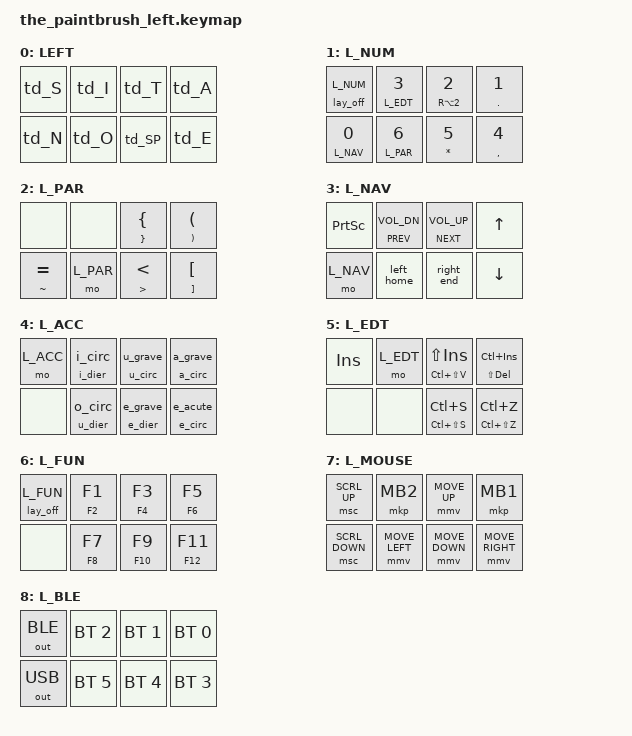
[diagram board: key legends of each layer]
/*
 * Copyright (c) 2021 Mike "KemoNine" Crosson
 * 2024 modified by Petko Yotov pmwiki.org/petko
 *
 * SPDX-License-Identifier: MIT
 */

#define ZMK_POINTING_DEFAULT_MOVE_VAL 600  // default: 600
#define ZMK_POINTING_DEFAULT_SCRL_VAL 6    // default: 10 (currently unused)


#include <behaviors.dtsi>
#include <dt-bindings/zmk/keys.h>
#include <dt-bindings/zmk/outputs.h>
#include <dt-bindings/zmk/bt.h>
#include <dt-bindings/zmk/pointing.h>

// HOST_OS: Linux=1, MacOS=2
#define HOST_OS 1
#include "zmk-helpers/helper.h"

#include "keyabbrev.dtsi"


// International characters and dead accents from the XKB layout
// "English (US, intl., with AltGr dead keys)":
#define SUP2 RA(N2)
// dead grave
#define D_GRV RA(GRAVE)
// dead acute
#define D_ACU RA(SQT)
// dead diaeresis
#define D_DRS RA(DQT)
// dead circumflex
#define D_CRC RA(N6)
// dead tilde
#define D_TLD RA(TILDE)

#define NTILDE RA(N)
#define DEGREE RA(COLON)
#define C_CDL  RA(COMMA)
#define S_SRP  RA(S)
#define OELIG  RA(X)
#define AELIG  RA(Z)
#define EURO   RA(N5)
#define GBP    RA(DOLLAR)
#define YEN    RA(MINUS)

// edit shortcuts
// C_AC_UNDO/K_UNDO and K_REDO work in LibreOffice 
// but not in Kate/Gedit/Firefox
#define CLIPCOPY   LC(INS)
#define CLIPCUT    LS(DEL)
#define CLIPPASTE  LS(INS)
#define CLIPPASTE2 LC(LS(V))
#define SAVE       LC(S)
#define SAVEAS     LC(LS(S)) 
#define U_UNDO     LC(Z)
#define U_REDO     LC(LS(Z))
#define TODO       &none
#define MAYBE      &none


// Top row RI TA
#define T4 0
#define T3 1
#define T2 2
#define T1 3
// Bottom row NO SE 
#define B4 4
#define B3 5
#define B2 6
#define B1 7

// The layers need to be numbered in the order they are below,
// starting from zero.
#define L_BASE 0
#define L_NUM  1
#define L_PAR  2
#define L_NAV  3
#define L_ACC  4
#define L_EDT  5
#define L_FUN  6
#define L_MSE  7
#define L_BLE  8

#define ALL_LEFT L_BASE L_MSE L_BLE L_NUM L_FUN

// Delay for combo
#undef COMBO_TERM
#define COMBO_TERM 175

#define NAV_TAP_TERM 300
#define TAPDANCE_2_TERM 250
#define TAPDANCE_3_TERM 350
#define HOLDTAP_TERM 150
#define HOLDTAP_LAYER_TERM 250
#define TIMEOUT_STICKY_LEADER_KEY  5000

&sk {
  release-after-ms = <TIMEOUT_STICKY_LEADER_KEY>;
  quick-release;
};
&sl { 
  release-after-ms = <TIMEOUT_STICKY_LEADER_KEY>;
};
&mt {
  tapping-term-ms = <HOLDTAP_TERM>;
};
&lt {
  tapping-term-ms = <HOLDTAP_LAYER_TERM>;
};




/ { behaviors {
  
//   Under the hood, the mod-tap is simply a hold-tap of the "hold-preferred" flavor with a tapping-term-ms of 200 that takes in two keypresses as its "hold" and "tap" parameters. This means that the mod-tap can be used to invoke any keycode, and is not limited to only activating modifier keys when it is held.


  mtz: behavior_mod_tap_zero {
    // 
    compatible = "zmk,behavior-hold-tap";
    #binding-cells = <2>;
    flavor = "hold-preferred";
    tapping-term-ms = <10>;
//     quick-tap-ms = <200>;
//     require-prior-idle-ms = <125>;
    bindings = <&kp>, <&kp>;
  };
  
  sk_tk: behavior_sk_tk { 
    // sk LGUI, kt LCTRL
    // sk RALT, kt LALT
    compatible = "zmk,behavior-hold-tap";
    #binding-cells = <2>;
    flavor = "hold-preferred";
    tapping-term-ms = <HOLDTAP_TERM>;
    bindings = <&sk>, <&kt>;
  };
  
  // kp_kt CAPS LSHFT
  kp_kt: behavior_sk_tog2 { 
    compatible = "zmk,behavior-hold-tap";
    #binding-cells = <2>;
    flavor = "hold-preferred";
    tapping-term-ms = <HOLDTAP_TERM>;
    bindings = <&kp>, <&kt>;
  };
  
  // nxkbly, sk LSHFT
  nx_sk: behavior_sk_tog3 {
    compatible = "zmk,behavior-hold-tap";
    #binding-cells = <2>;
    flavor = "hold-preferred";
    tapping-term-ms = <HOLDTAP_TERM>;
    bindings = <&nxkbly>, <&sk>;
  };
  
  
  
  
  tap2: macro_tap_2 {
    compatible = "zmk,behavior-macro-two-param";
    wait-ms = <40>;
    tap-ms = <40>;
    #binding-cells = <2>;
    bindings
      = <&macro_param_1to1>
      , <&macro_tap &kp MACRO_PLACEHOLDER>
      , <&macro_param_2to1>
      , <&macro_tap &kp MACRO_PLACEHOLDER>
      ;
  };
  
  
  caps_tog: behavior_caps_tog {
    compatible = "zmk,behavior-hold-tap";
    #binding-cells = <2>;
    flavor = "hold-preferred";
    tapping-term-ms = <HOLDTAP_TERM>;
    bindings = <&caps_word>, <&kp>;
  };
  
  lk: behavior_layon_key {
    compatible = "zmk,behavior-hold-tap";
    #binding-cells = <2>;
    flavor = "hold-preferred";
    tapping-term-ms = <HOLDTAP_LAYER_TERM>;
    bindings = <&lay_on>, <&kp>;
  };
  
  kd: behavior_keydown {
    compatible = "zmk,behavior-key-toggle";
    #binding-cells = <1>;
    display-name = "Key Toggle On";
    toggle-mode = "on";
  };

  ku: behavior_keyup {
    compatible = "zmk,behavior-key-toggle";
    #binding-cells = <1>;
    display-name = "Key Toggle Off";
    toggle-mode = "off";
  };
  
  lay_off: behavior_layer_off {
    compatible = "zmk,behavior-toggle-layer";
    #binding-cells = <1>;
    display-name = "Toggle Layer Off";
    toggle-mode = "off";

  };
  lay_on: behavior_layer_om {
    compatible = "zmk,behavior-toggle-layer";
    #binding-cells = <1>;
    display-name = "Toggle Layer On";
    toggle-mode = "on";

  };
    
  unmod: macro_release_mods {
    compatible = "zmk,behavior-macro";
    #binding-cells = <0>;
    bindings
      = <&lay_off L_MSE &lay_off L_BLE &lay_off L_NUM &lay_off L_FUN>
      , <&ku LSHFT &ku LCTRL &ku LALT &ku RALT &ku LGUI>
      ;
  };
  
  // should work both on Ubuntu and MacOSX
  nxkbly: macro_next_keyboard_layout {
    compatible = "zmk,behavior-macro";
    #binding-cells = <0>;
    bindings = <&kp GLOBE &kp LA(LSHFT)> ;
  };
  
  
  
  tap_th: macro_tap_th {
    compatible = "zmk,behavior-macro";
    wait-ms = <40>;
    tap-ms = <40>;
    #binding-cells = <0>;
    bindings = <&kp T &kp H> ;
  };
  https: macro_https {
    compatible = "zmk,behavior-macro";
    #binding-cells = <0>;
    bindings = <&kp H &kp T &kp T &kp P &kp S &kp COLON &kp SLASH &kp SLASH &kp W &kp W &kp W &kp DOT >;
  };
  tap_the: macro_tap_the {
    compatible = "zmk,behavior-macro";
    wait-ms = <40>;
    tap-ms = <40>;
    #binding-cells = <0>;
    bindings = <&kp T &kp H &kp E> ;
  };
  the_th: behavior_the_th {
    compatible = "zmk,behavior-hold-tap";
    #binding-cells = <2>;
    flavor = "hold-preferred";
    tapping-term-ms = <HOLDTAP_TERM>;
    bindings = <&tap_the>, <&tap_th>;
  };
  
  ing: macro_ing {
    compatible = "zmk,behavior-macro";
    #binding-cells = <0>;
    bindings = <&kp I &kp N &kp G>;
  };
  ion: macro_ion {
    compatible = "zmk,behavior-macro";
    #binding-cells = <0>;
    bindings = <&kp I &kp O &kp N>;
  };
  ion_ing: behavior_ion_ing {
    compatible = "zmk,behavior-hold-tap";
    #binding-cells = <2>;
    flavor = "hold-preferred";
    tapping-term-ms = <HOLDTAP_TERM>;
    bindings = <&ion>, <&ing>;
  };
  tion: macro_tion {
    compatible = "zmk,behavior-macro";
    #binding-cells = <0>;
    bindings = <&kp T &kp I &kp O &kp N>;
  };
  
  a_grave: macro_a_grave {
    compatible = "zmk,behavior-macro";
    #binding-cells = <0>;
    bindings = <&kp D_GRV &kp A>;
  };
  a_circ: macro_a_circ {
    compatible = "zmk,behavior-macro";
    #binding-cells = <0>;
    bindings = <&kp D_CRC &kp A>;
  };
  a_grave_circ: behavior_a_grave_circ {
    compatible = "zmk,behavior-hold-tap";
    #binding-cells = <2>;
    flavor = "hold-preferred";
    tapping-term-ms = <HOLDTAP_TERM>;
    bindings = <&a_circ>, <&a_grave>;
  };
  
  e_acute: macro_e_acute {
    compatible = "zmk,behavior-macro";
    #binding-cells = <0>;
    bindings = <&kp D_ACU &kp E>;
  };
  e_circ: macro_e_circ {
    compatible = "zmk,behavior-macro";
    #binding-cells = <0>;
    bindings = <&kp D_CRC &kp E>;
  };
  e_acute_circ: behavior_e_acute_circ {
    compatible = "zmk,behavior-hold-tap";
    #binding-cells = <2>;
    flavor = "hold-preferred";
    tapping-term-ms = <HOLDTAP_TERM>;
    bindings = <&e_circ>, <&e_acute>;
  };
  
  e_grave: macro_e_grave {
    compatible = "zmk,behavior-macro";
    #binding-cells = <0>;
    bindings = <&kp D_GRV &kp E>;
  };
  e_dier: macro_e_dier {
    compatible = "zmk,behavior-macro";
    #binding-cells = <0>;
    bindings = <&kp D_DRS &kp E>;
  };
  e_grave_dier: behavior_e_grave_dier{
    compatible = "zmk,behavior-hold-tap";
    #binding-cells = <2>;
    flavor = "hold-preferred";
    tapping-term-ms = <HOLDTAP_TERM>;
    bindings = <&e_dier>, <&e_grave>;
  };
  
  
  u_grave: macro_u_grave {
    compatible = "zmk,behavior-macro";
    #binding-cells = <0>;
    bindings = <&kp D_GRV &kp U>;
  };
  u_circ: macro_u_circ {
    compatible = "zmk,behavior-macro";
    #binding-cells = <0>;
    bindings = <&kp D_CRC &kp U>;
  };
  u_grave_circ: behavior_u_grave_circ {
    compatible = "zmk,behavior-hold-tap";
    #binding-cells = <2>;
    flavor = "hold-preferred";
    tapping-term-ms = <HOLDTAP_TERM>;
    bindings = <&u_circ>, <&u_grave>;
  };
  
  

  i_circ: macro_i_circ {
    compatible = "zmk,behavior-macro";
    #binding-cells = <0>;
    bindings = <&kp D_CRC &kp I>;
  };
  i_dier: macro_i_dier {
    compatible = "zmk,behavior-macro";
    #binding-cells = <0>;
    bindings = <&kp D_DRS &kp I>;
  };  
  i_circ_dier: behavior_i_circ_dier {
    compatible = "zmk,behavior-hold-tap";
    #binding-cells = <2>;
    flavor = "hold-preferred";
    tapping-term-ms = <HOLDTAP_TERM>;
    bindings = <&i_dier>, <&i_circ>;
  };
  
  o_circ: macro_o_circ {
    compatible = "zmk,behavior-macro";
    #binding-cells = <0>;
    bindings = <&kp D_CRC &kp O>;
  };
  u_dier: macro_u_dier {
    compatible = "zmk,behavior-macro";
    #binding-cells = <0>;
    bindings = <&kp D_DRS &kp U>;
  };
  o_circ_u_dier: behavior_o_circ_u_dier {
    compatible = "zmk,behavior-hold-tap";
    #binding-cells = <2>;
    flavor = "hold-preferred";
    tapping-term-ms = <HOLDTAP_TERM>;
    bindings = <&u_dier>, <&o_circ>;
  };
  
  hold_esc: behavior_hold_escape {
    compatible = "zmk,behavior-hold-tap";
    #binding-cells = <2>;
    flavor = "hold-preferred";
    tapping-term-ms = <HOLDTAP_TERM>;
    bindings = <&unmod>, <&kp>;
  };
  
//   reib: macro_reib {
//     compatible = "zmk,behavior-macro";
//     #binding-cells = <0>;
//     wait-ms = <2500>;
//     bindings = 
//       // ALT REIB REIB &kp SYSREQ
//         <&macro_press &kp LSHFT>
//       , <&macro_tap &kp R &kp E &kp I &kp B>
//       , <&macro_release &kp LSHFT>
//     ;
//     
//   };

}; };
// #define SK_TK(key) &togkey_stikey key key   // Macro to apply momentary-layer-on-hold/toggle-layer-on-tap to a specific layer




// Tap dance is difficult with fingers 3 & 4, better use mod-taps



// Combos NUM layer
// ZMK_COMBO(num_7, &mt DOLLAR N7,    T2 T1, L_NUM)
// ZMK_COMBO(num_8, &kp N8       , T3 T2   , L_NUM)
// ZMK_COMBO(num_9, &mt HASH   N9,    B2 B1, L_NUM)
// ZMK_COMBO(num_0, &mt DEGREE N0, B3 B2   , L_NUM)
// ZMK_COMBO(num_E, &mt GBP  EURO, T3    T1, L_NUM)
// ZMK_COMBO(num_Y, &kp YEN      , B3    B1, L_NUM)
ZMK_COMBO(num_7, &mt DOLLAR N7, __TT, L_NUM)
ZMK_COMBO(num_8, &kp N8       , _TT_, L_NUM)
ZMK_COMBO(num_9, &mt HASH   N9, __BB, L_NUM)
ZMK_COMBO(num_0, &mt DEGREE N0, _BB_  , L_NUM)
ZMK_COMBO(num_E, &mt GBP  EURO, _T_T, L_NUM)
ZMK_COMBO(num_Y, &kp YEN      , _B_B, L_NUM)
// can do combos x4-x3-x2 


// Combos NAV+Media layer
ZMK_COMBO(nav_pgup,  &mt LC(HOME) PG_UP,    T2 T1, L_NAV)
ZMK_COMBO(nav_pgdn,  &mt LC(END)  PG_DN,    B2 B1, L_NAV)
ZMK_COMBO(mute_play, &mt K_PP K_MUTE   , T3 T2   , L_NAV)


ZMK_TAP_DANCE(left_home, bindings = <&mt HOME LEFT>, <&kp LC(LEFT)>;  tapping-term-ms = <NAV_TAP_TERM>; )
ZMK_TAP_DANCE(right_end, bindings = <&mt END RIGHT>, <&kp LC(RIGHT)>; tapping-term-ms = <NAV_TAP_TERM>; )



// Combos BLUETOOTH layer
ZMK_COMBO(layer_bt_select,          &sl L_BLE, T1 B1             T4 B4) // ALL layers
ZMK_COMBO(bt_clear_current_profile, &bt BT_CLR,       T3 B3 T2 B2      , L_BLE)


// Combos L_MSE  Mouse layer
ZMK_COMBO(lay_mouse, &tog L_MSE,    T3 B2 T1, L_BASE L_MSE)
ZMK_COMBO(combo_mb3,   &mkp MB3,    T3    T1, L_MSE)
ZMK_COMBO(combo_mb4,   &mkp MB4,    T3 T2   , L_MSE)
ZMK_COMBO(combo_mb5,   &mkp MB5,       T2 T1, L_MSE)


// Combos L_FUN layer
// ZMK_COMBO(combo_reib,  &reib, B4 B3 B2   , L_FUN)

// Combos L_PAR layer
ZMK_COMBO(combo_eq, &mt TILDE EQUAL, T2 T1, L_PAR)


// Combos accented layer
ZMK_COMBO(combo_e_dier, &tap2 D_DRS E, B2 B1, L_ACC)
// ZMK_COMBO(combo_oe, &mt LS(OELIG) OELIG, B2 B1, L_ACC)



// Base letter combos ê ç ô â î û ù ï ü ë
ZMK_TAP_DANCE(td_S, tapping-term-ms = <TAPDANCE_3_TERM>;  
  bindings = <&lt L_ACC S>, <&kp STAR>, <&kp S_SRP>;)

ZMK_TAP_DANCE(td_E,  tapping-term-ms = <TAPDANCE_3_TERM>;
  bindings = <&lk L_NUM E>, <&tap2 D_ACU E>, <&tap2 D_GRV E>, <&tap2 D_CRC E>, <&tap2 D_DRS E>;)

ZMK_TAP_DANCE(td_A,  tapping-term-ms = <TAPDANCE_3_TERM>;
  bindings = <&mtz AT A>, <&tap2 D_GRV A>, <&tap2 D_CRC A>;)

ZMK_TAP_DANCE(td_N,  tapping-term-ms = <TAPDANCE_3_TERM>;
  bindings = <&lt L_NAV N>, <&kp NTILDE>;)

ZMK_TAP_DANCE(td_I,  tapping-term-ms = <TAPDANCE_3_TERM>;
  bindings = <&lt L_EDT I>, <&tap2 D_CRC I>, <&tap2 D_DRS I>;)

ZMK_TAP_DANCE(td_O,  tapping-term-ms = <TAPDANCE_3_TERM>;
  bindings = <&lt L_PAR O>, <&tap2 D_CRC O>;)

ZMK_TAP_DANCE(td_T,  tapping-term-ms = <TAPDANCE_3_TERM>;
  bindings = <&lk L_NUM T>, <&tap2 D_GRV U>, <&tap2 D_CRC U>;)

ZMK_TAP_DANCE(td_SP, tapping-term-ms = <TAPDANCE_3_TERM>;  
  bindings = <&mtz ENTER SPACE>, <&kp DOT>, <&kp COMMA>, <&kp EXCL>, <&kp QMARK>;)

ZMK_COMBO(combo_b,  &mt AMPS  B, T4 T3      , L_BASE)

// C_CDL also used for Cyrillic Cha
ZMK_COMBO(combo_c,  &mt C_CDL C,    T3 T2   , L_BASE)
ZMK_COMBO(combo_d,  &mt DLLR  D,       T2 T1, L_BASE)
ZMK_COMBO(combo_h,  &mt HASH  H,       B2 B1, L_BASE)
ZMK_COMBO(combo_u,  &mt UNDER U,    B3 B2   , L_BASE)
ZMK_COMBO(combo_g,  &mt GBP   G, B4 B3 B2   , L_BASE)

ZMK_COMBO(combo_r,  &kp       R, B4 B3      , L_BASE)
// AELIG, OELIG also used for Cyrillic Sha, Shcha
ZMK_COMBO(combo_k,  &mt AELIG K,    T3    T1, L_BASE)
ZMK_COMBO(combo_y,  &mt OELIG Y,    B3    B1, L_BASE)
ZMK_COMBO(combo_j,  &kp       J, T4    T2   , L_BASE)
ZMK_COMBO(combo_z,  &kp       Z, B4    B2   , L_BASE)

ZMK_COMBO(combo_v,  &mt D_DRS V, T4       T1, L_BASE)
ZMK_COMBO(combo_x,  &mt D_CRC X, B4       B1, L_BASE)

ZMK_COMBO(combo_p,  &mt PIPE  P, T4 T3    T1, L_BASE)
ZMK_COMBO(combo_q,  &mt PRCNT Q, B4 B3    B1, L_BASE)

ZMK_COMBO(combo_l,  &mt PLUS  L,    T3 T2 T1, L_BASE L_NUM)
ZMK_COMBO(combo_m,  &mt MINUS M,    B3 B2 B1, L_BASE L_NUM)

ZMK_COMBO(combo_f,  &lk L_FUN F, T4 T3 T2   , L_BASE)
ZMK_COMBO(combo_w,  &mt AT    W, T4 T3 T2 T1, L_BASE)

ZMK_COMBO(combo_sp, &mt ENTER SPACE, B4 B3 B2 B1, L_BASE L_NUM)

// Common bigrams, with letters on the same finger, or require combos
// ZMK_COMBO(combo_st,  &tap2 S T,       B3 T2   , L_BASE)
// ZMK_COMBO(combo_ed,  &tap2 E D,       T2 T1 B1, L_BASE)
// ZMK_COMBO(combo_nd,  &tap2 N D, B4    T2 T1   , L_BASE)
// ZMK_COMBO(combo_he,  &tap2 H E,    B2 T1 B1   , L_BASE)
// ZMK_COMBO(combo_tion, &tion   , B4 B3 T2      , L_BASE)
// ZMK_COMBO(combo_th,  &the_th  0 0,    T2 B2 B1, L_BASE)
// ZMK_COMBO(combo_ing, &ion_ing 0 0, B4 T3 B3   , L_BASE)



// Base punctuation
ZMK_COMBO(combo_slash, &mt D_ACU SLASH, B4       T1, L_BASE L_NUM)
ZMK_COMBO(combo_backs, &mt D_GRV BSLH , T4       B1, L_BASE L_NUM)
ZMK_COMBO(combo_comma, &mt COLON SEMI ,    T2 B2   , L_BASE L_NUM)
ZMK_COMBO(combo_colon, &mt DOT COMMA  ,       T1 B1, L_BASE L_NUM)
ZMK_COMBO(combo_quote, &mt DQT SQT    ,    B3 T3   , L_BASE L_NUM)
ZMK_COMBO(combo_exclq, &mt QMARK EXCL , B4 T4      , L_BASE L_NUM)


// GLOBAL Combos 

ZMK_COMBO(combo_backspace, &mt LC(BSPC) BSPC,       T2 B1, L_BASE L_MSE L_NUM)
ZMK_COMBO(combo_delete,    &mt LC(DEL)  DEL ,       B2 T1, L_BASE L_MSE L_NUM)
ZMK_COMBO(combo_escape,    &hold_esc  0 ESC , B4 T3      , ALL_LEFT)
ZMK_COMBO(combo_tab,       &mt LS(TAB)  TAB , B4 T3 T2   , L_BASE L_MSE L_NUM)

// Hold for sticky RALT (one shot), tap to toggle LALT
ZMK_COMBO(combo_alt,    &sk_tk RALT LALT   ,   T3 B2 B1, L_BASE L_MSE L_NUM L_FUN)
// Hold for sticky LGUI (one shot), tap to toggle LCTRL
ZMK_COMBO(combo_ctrl,   &sk_tk LGUI LCTRL  ,   T3 T2 B1, L_BASE L_MSE L_NUM L_FUN)
// Hold for CAPS, tap to toggle LSHFT
ZMK_COMBO(combo_shift,  &kp_kt CAPS LSHFT  ,   T3    B1, L_BASE L_MSE L_NUM L_FUN)
// Hold for NEXTLAYOUT (Alt+Shift), tap for sticky LSHFT (one-shot)
ZMK_COMBO(combo_shift1, &nx_sk 0    LSHFT  ,   B3    T1, L_BASE L_MSE L_NUM L_FUN)


// FIXME: should this be enabled? Could be on Hold+ESC
// ZMK_COMBO(combo_unmod,    &unmod,     T4 T3 T2 T1)


// ZMK_COMBO(name, bindings, keypos, layers, timeout, prior_idle, extra)
ZMK_COMBO(combo_reset,   &sys_reset,  0 1 2 3 4 5 6 7)
ZMK_COMBO(combo_reflash, &bootloader, B4 B3 B2 B1 T1, ALL_LEFT)


// TODO: keymap for see keys marked TODO and MAYBE 
//    HOLD: escape, unmod, T, J, K, Y, Z, YEN
//    MEH key
//    SPACE is most used, but often pinky errors
// Most used keyboard shortcuts Alt+Tab
// the most common letter pairs as " AN RE ER IN ON AT ES EN +OF TE OR TI +HI AS TO"
// 
// Unused combos that are relatively easy
// 
// T3 B2, B3 B2 T1, B3 T2 B1, 
// 
// Pinky+Ring: T4 T3 B2, T4 T3 B2 B1, T4 T3 T2 B1,
//             B4 B3 T2, B4 B3 T1, B4 B3 B2 T1
// 
// Pinky T4, maybe: T4 B3, T4 B2, T4 B2 B1, T4 B3 B2 B1
// Pinky B4, maybe: B4 T3 T2 T1, B4 T3 T2 B1
// 
// T4 B3 B2 T1, B4 T3 T2 T1
// 
// Change layout from LEFT to RIGHT hand
// T4 T3 B4 B3, T2 T1 B2 B1



/ { keymap { compatible = "zmk,keymap";
  left {
    display-name = "LEFT";  
    // tap-dance doesn't work with layer-hold
    // unless we use non-momentary layers?
    bindings = <
      &td_S   &td_I   &td_T    &td_A
      &td_N   &td_O   &td_SP   &td_E
    >;
  };
  numbers {
    display-name = "L_NUM";
    bindings = <
      &lay_off L_NUM  &lt L_EDT N3   &mt SUP2 N2    &mt DOT   N1
      &lt L_NAV   N0  &lt L_PAR N6   &mt STAR N5    &mt COMMA N4
    >;
  };
  parentheses {
    display-name = "L_PAR";
    bindings = <
      TODO               MAYBE       &mt RBRC LBRC   &mt RPAR LPAR
      &mt TILDE EQUAL    &mo L_PAR   &mt GT   LT     &mt RBKT LBKT
    >;
  };
  
  navmedia {
    display-name = "L_NAV";
    bindings = <                      
      &kp PRINTSCREEN  &mt K_PREV K_VOL_DN  &mt K_NEXT K_VOL_UP   &kp UP   
      &mo L_NAV         &left_home           &right_end           &kp DOWN 
    >;
  };
  accented { 
    // French freq: é è à; rarer than Z: ê ç ô â î û ù ï ü ë
    // Also dead `´¨^ available on hold-/\VX if needed for other letters
    display-name = "L_ACC";
    bindings = <
      &mo L_ACC  &i_circ_dier   0 0  &u_grave_circ 0 0   &a_grave_circ 0 0
      &none      &o_circ_u_dier 0 0  &e_grave_dier 0 0   &e_acute_circ 0 0
    >;
  };
  editing {
    display-name = "L_EDT";
    bindings = <
      &kp INS  &mo L_EDT  &mt CLIPPASTE2 CLIPPASTE  &mt CLIPCUT CLIPCOPY
      TODO     &none      &mt SAVEAS     SAVE       &mt U_REDO  U_UNDO
    >;
  };
  
  functionkeys {
    display-name = "L_FUN";
    bindings = <
      &lay_off L_FUN  &mt F2 F1    &mt F4  F3    &mt F6  F5
      TODO            &mt F8 F7    &mt F10 F9    &mt F12 F11
    >;
  };
  mouse {
    display-name = "L_MOUSE";
    bindings = <
     &msc SCRL_UP    &mkp MB2       &mmv MOVE_UP   &mkp MB1
     &msc SCRL_DOWN  &mmv MOVE_LEFT &mmv MOVE_DOWN &mmv MOVE_RIGHT
    >;
  };
  
  bluetooth {
    display-name = "L_BLE";
    bindings = <
      &out OUT_BLE   &bt BT_SEL 2  &bt BT_SEL 1  &bt BT_SEL 0
      &out OUT_USB   &bt BT_SEL 5  &bt BT_SEL 4  &bt BT_SEL 3
    >;
  };
  

}; };


